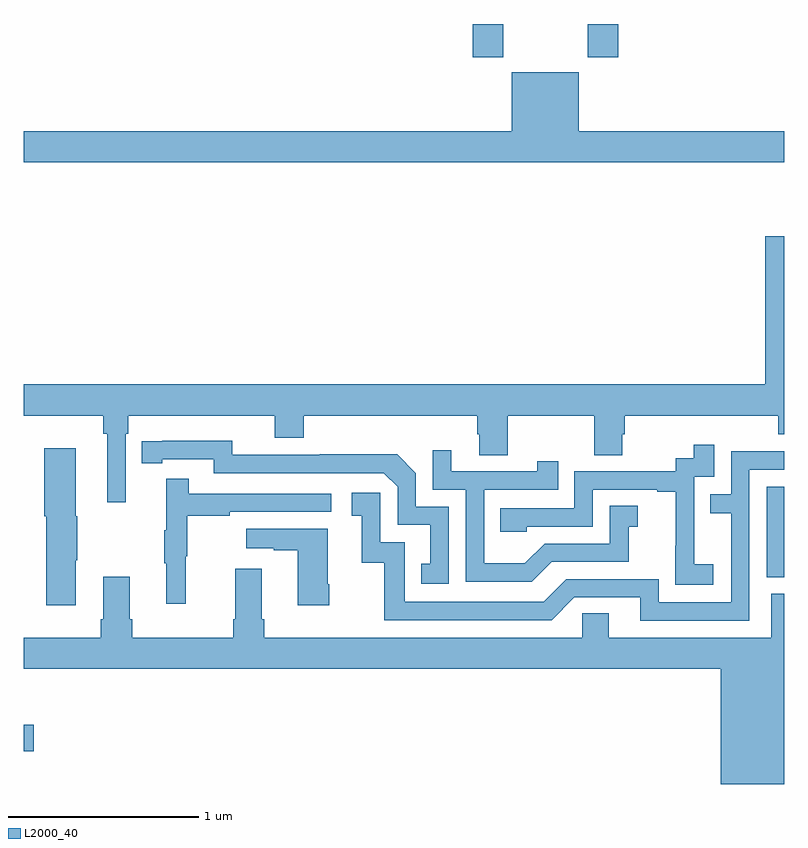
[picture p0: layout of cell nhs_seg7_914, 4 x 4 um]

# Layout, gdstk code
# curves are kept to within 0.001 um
import gdstk
lib = gdstk.Library(unit=1e-6, precision=1e-09)
def R(c, l, rs):  # rectangles x0, y0, x1, y1
    for r in rs: c.add(gdstk.rectangle(r[:2], r[2:], *l))
def P(c, l, *ps):  # polygons
    for p in ps: c.add(gdstk.Polygon(p, *l))
L2000_40 = (2000, 40)

nhs_seg7_914 = lib.new_cell('nhs_seg7_914')
R(nhs_seg7_914, L2000_40, [(179,1008.173,179.053,1008.315), (182.907,1009.089,183,1009.566), (181.361,1011.825,181.521,1012), (181.966,1011.825,182.126,1012)])
P(nhs_seg7_914, L2000_40, [(183,1011.436),(181.918,1011.436),(181.918,1011.745),(181.568,1011.745),(181.568,1011.436),(179,1011.436),(179,1011.272),(183,1011.272)],
  [(179.535,1009.844),(179.549,1009.844),(179.549,1009.94),(180.32,1009.94),(180.32,1009.823),(180.473,1009.823),(180.473,1009.94),(181.385,1009.94),(181.385,1009.842),(181.397,1009.842),(181.397,1009.732),(181.545,1009.732),(181.545,1009.94),(182.002,1009.94),(182.002,1009.732),(182.149,1009.732),(182.149,1009.842),(182.162,1009.842),(182.162,1009.94),(182.969,1009.94),(182.969,1009.841),(183,1009.841),(183,1010.884),(182.9,1010.884),(182.9,1010.104),(179,1010.104),(179,1009.94),(179.419,1009.94),(179.419,1009.844),(179.438,1009.844),(179.438,1009.485),(179.535,1009.485)],
  [(181.236,1009.461),(181.062,1009.461),(181.062,1009.638),(180.964,1009.736),(180.556,1009.736),(180.556,1009.734),(180.096,1009.734),(180.096,1009.807),(179.62,1009.806),(179.62,1009.69),(179.728,1009.69),(179.728,1009.71),(180,1009.71),(180,1009.638),(180.894,1009.638),(180.966,1009.566),(180.966,1009.365),(181.139,1009.365),(181.139,1009.161),(181.09,1009.161),(181.09,1009.056),(181.236,1009.056)],
  [(182.626,1009.159),(182.528,1009.159),(182.528,1009.388),(182.526,1009.388),(182.526,1009.617),(182.631,1009.617),(182.631,1009.786),(182.523,1009.786),(182.523,1009.716),(182.43,1009.716),(182.43,1009.647),(181.896,1009.647),(181.896,1009.452),(181.507,1009.452),(181.507,1009.329),(181.647,1009.329),(181.647,1009.356),(181.992,1009.356),(181.992,1009.551),(182.333,1009.551),(182.333,1009.539),(182.429,1009.539),(182.429,1009.255),(182.428,1009.255),(182.428,1009.049),(182.626,1009.049)],
  [(179.272,1009.18),(179.28,1009.18),(179.28,1009.41),(179.272,1009.41),(179.272,1009.768),(179.108,1009.768),(179.108,1009.41),(179.119,1009.41),(179.119,1008.942),(179.272,1008.942)],
  [(181.777,1009.17),(182.181,1009.17),(182.181,1009.355),(182.23,1009.355),(182.23,1009.465),(182.082,1009.465),(182.082,1009.266),(181.74,1009.266),(181.636,1009.162),(181.422,1009.162),(181.422,1009.551),(181.811,1009.551),(181.811,1009.699),(181.7,1009.699),(181.7,1009.647),(181.249,1009.647),(181.249,1009.759),(181.152,1009.759),(181.152,1009.551),(181.326,1009.551),(181.326,1009.065),(181.672,1009.065)],
  [(182.817,1009.656),(183,1009.656),(183,1009.752),(182.721,1009.752),(182.721,1009.527),(182.611,1009.527),(182.611,1009.426),(182.721,1009.426),(182.721,1008.957),(182.34,1008.957),(182.34,1009.08),(181.854,1009.08),(181.734,1008.96),(181.005,1008.96),(181.005,1009.275),(180.876,1009.275),(180.876,1009.534),(180.726,1009.534),(180.726,1009.413),(180.779,1009.413),(180.779,1009.167),(180.897,1009.167),(180.897,1008.864),(181.776,1008.864),(181.896,1008.984),(182.243,1008.984),(182.243,1008.861),(182.817,1008.861)],
  [(179.852,1009.2),(179.86,1009.2),(179.86,1009.414),(180.083,1009.414),(180.083,1009.434),(180.616,1009.434),(180.616,1009.53),(179.867,1009.53),(179.867,1009.609),(179.75,1009.609),(179.75,1009.337),(179.739,1009.337),(179.739,1009.163),(179.75,1009.163),(179.75,1008.951),(179.852,1008.951)],
  [(180.606,1009.054),(180.598,1009.054),(180.598,1009.345),(180.171,1009.345),(180.171,1009.241),(180.314,1009.241),(180.314,1009.231),(180.44,1009.231),(180.44,1008.942),(180.606,1008.942)],
  [(182.666,1008.002),(183,1008.002),(183,1009.004),(182.933,1009.004),(182.933,1008.772),(182.077,1008.772),(182.077,1008.899),(181.938,1008.899),(181.938,1008.772),(180.266,1008.772),(180.266,1008.868),(180.253,1008.868),(180.253,1009.135),(180.113,1009.135),(180.113,1008.868),(180.101,1008.868),(180.101,1008.772),(179.57,1008.772),(179.57,1008.868),(179.557,1008.868),(179.557,1009.093),(179.417,1009.093),(179.417,1008.868),(179.405,1008.868),(179.405,1008.772),(179,1008.772),(179,1008.608),(182.666,1008.608)])

lib.write_gds('nhs_seg7_914.gds')
